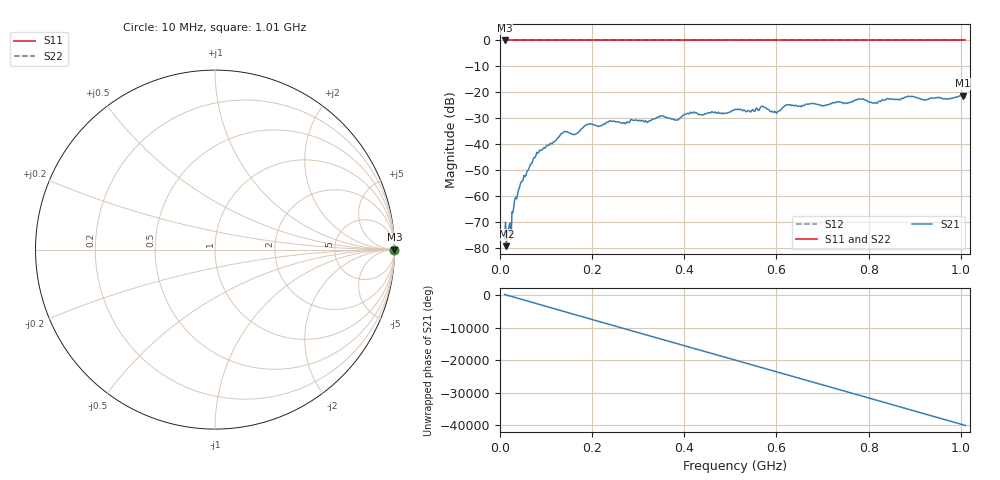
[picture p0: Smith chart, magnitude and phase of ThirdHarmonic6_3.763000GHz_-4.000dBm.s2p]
! 8/17/2025 12:55:55 PM
! C:\ANRITSUVNA\TEMP\TEMP.S2P
! CHANNEL.1
! TR.MEASUREMENT
! RAW.DATA
! RF.CORRECTION.OFF
! AVERAGING.OFF
! IF.BANDWIDTH: 5KHZ
! SWEEPTYPE:  FREQ.SWEEP(Linear)
! Reference Plane Port Info
! PORT:  PORT1  PORT2
! DISTANCE:  0  m  0  m
! TIME:  0  s  0  s
! PHASE.OFFSET:  0  deg.  0  deg.
! LOSS:  0  dB  0  dB
! REF.LOSS:  0  dB  0  dB
! REF.FREQ:  0  Hz  0  Hz
! Power Info
! POWER:  -20  dBm  -20  dBm
! EFF.POWER:  -20  dBm  -20  dBm
! SOURCE.ATTEN:  0  dB  0  dB
! TEST.ATTEN:  0  dB  0  dB
# GHZ S RI R 50.0
! FREQ.GHZ  S11RE  S11IM  S21RE  S21IM  S12RE  S12IM  S22RE  S22IM
!; PortSelection: Port_12
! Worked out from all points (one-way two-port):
!   501 points, 10 MHz to 1.01 GHz, reference 50 ohm
!   highest |S21| = -21.22 dB at 1.004 GHz (marker M1); lowest = -79.3 dB at 14 MHz (marker M2)
!   lowest |S11| = 0.0 dB at 10 MHz (marker M3)
!   |S11| at or under -10 dB: nowhere
!   |S22| runs from 0.0 to 0.0 dB; largest |S21 - S12| = 1.1
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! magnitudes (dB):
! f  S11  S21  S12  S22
! 10 MHz  0.0  -76.4  0.0  0.0
! 14 MHz  0.0  -79.3  0.0  0.0
! 20 MHz  0.0  -71.3  0.0  0.0
! 28 MHz  0.0  -66.3  0.0  0.0
! 30 MHz  0.0  -64.0  0.0  0.0
! 44 MHz  0.0  -55.5  0.0  0.0
! 76 MHz  0.0  -45.1  0.0  0.0
! 136 MHz  0.0  -35.8  0.0  0.0
! 162 MHz  0.0  -36.3  0.0  0.0
! 178 MHz  0.0  -34.0  0.0  0.0
! 192 MHz  0.0  -32.3  0.0  0.0
! 344 MHz  0.0  -29.6  0.0  0.0
! 382 MHz  0.0  -30.7  0.0  0.0
! 418 MHz  0.0  -28.0  0.0  0.0
! 510 MHz  0.0  -26.6  0.0  0.0
! 570 MHz  0.0  -25.4  0.0  0.0
! 598 MHz  0.0  -27.6  0.0  0.0
! 624 MHz  0.0  -24.9  0.0  0.0
! 678 MHz  0.0  -24.2  0.0  0.0
! 844 MHz  0.0  -22.5  0.0  0.0
! 1.004 GHz  0.0  -21.2  0.0  0.0
! 1.01 GHz  0.0  -21.9  0.0  0.0
